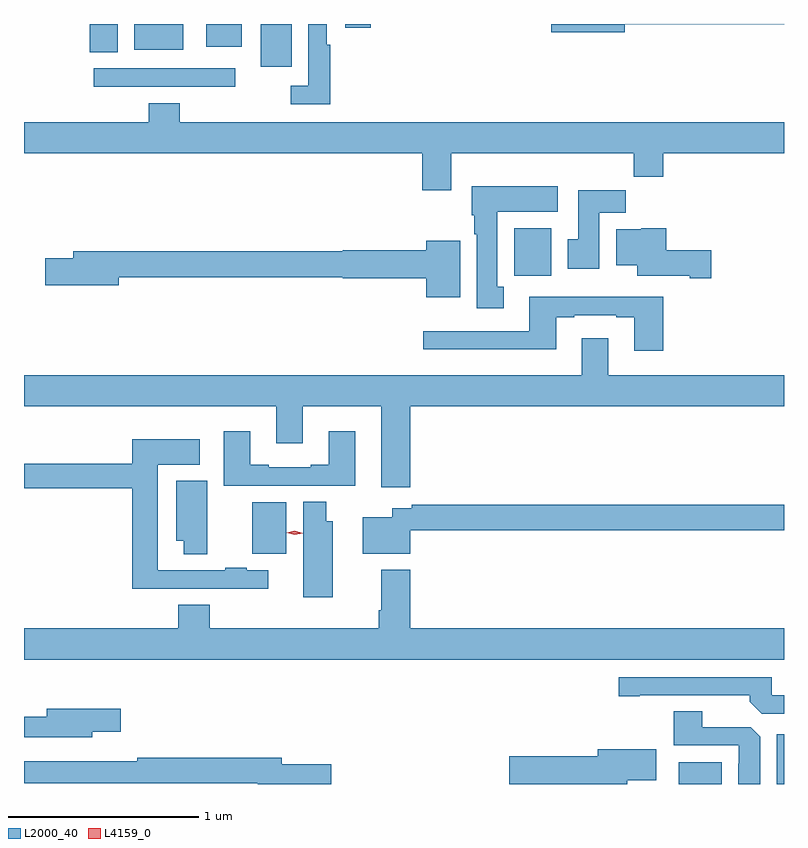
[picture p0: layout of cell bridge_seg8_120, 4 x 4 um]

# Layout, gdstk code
import gdstk
lib = gdstk.Library(unit=1e-6, precision=1e-09)
def R(c, l, rs):  # rectangles x0, y0, x1, y1
    for r in rs: c.add(gdstk.rectangle(r[:2], r[2:], *l))
def P(c, l, *ps):  # polygons
    for p in ps: c.add(gdstk.Polygon(p, *l))
L2000_40 = (2000, 40)
L4159_0 = (4159, 0)

bridge_seg8_120 = lib.new_cell('bridge_seg8_120')
R(bridge_seg8_120, L2000_40, [(845.549,1143.817,845.776,1143.931), (846.065,1143.817,846.103,1144.078), (843.305,1145.03,843.484,1145.299), (844.683,1146.492,844.879,1146.742), (842.469,1147.488,843.214,1147.584), (843.35,1147.593,843.511,1147.817), (842.684,1147.682,842.941,1147.817), (843.062,1147.697,843.25,1147.817), (843.794,1147.797,843.929,1147.817)])
P(bridge_seg8_120, L2000_40, [(845.266,1147.816),(846.103,1147.816),(846.103,1147.817),(844.878,1147.817),(844.878,1147.774),(845.266,1147.774)],
  [(843.716,1147.709),(843.696,1147.709),(843.696,1147.817),(843.6,1147.817),(843.6,1147.491),(843.507,1147.491),(843.507,1147.395),(843.716,1147.395)],
  [(842.596,1147.817),(842.103,1147.817),(842.103,1147.816),(842.45,1147.816),(842.45,1147.669),(842.596,1147.669)],
  [(844.351,1147.136),(845.311,1147.136),(845.311,1147.012),(845.468,1147.012),(845.468,1147.136),(846.103,1147.136),(846.103,1147.3),(842.924,1147.3),(842.924,1147.399),(842.759,1147.399),(842.759,1147.3),(842.103,1147.3),(842.103,1147.136),(844.199,1147.136),(844.199,1146.942),(844.351,1146.942)],
  [(844.627,1146.433),(844.594,1146.433),(844.594,1146.83),(844.912,1146.83),(844.912,1146.964),(844.46,1146.964),(844.46,1146.81),(844.472,1146.81),(844.472,1146.71),(844.487,1146.71),(844.487,1146.321),(844.627,1146.321)],
  [(845.131,1146.824),(845.27,1146.824),(845.27,1146.943),(845.021,1146.943),(845.021,1146.684),(844.964,1146.684),(844.964,1146.528),(845.131,1146.528)],
  [(845.719,1146.626),(845.483,1146.626),(845.483,1146.742),(845.352,1146.742),(845.352,1146.736),(845.219,1146.736),(845.219,1146.548),(845.33,1146.548),(845.33,1146.491),(845.606,1146.491),(845.606,1146.479),(845.719,1146.479)],
  [(844.399,1146.676),(844.22,1146.676),(844.22,1146.626),(843.78,1146.626),(843.78,1146.62),(842.363,1146.62),(842.363,1146.584),(842.214,1146.584),(842.214,1146.442),(842.602,1146.442),(842.602,1146.484),(843.78,1146.484),(843.78,1146.479),(844.22,1146.479),(844.22,1146.38),(844.399,1146.38)],
  [(845.468,1146.382),(844.763,1146.382),(844.763,1146.201),(844.203,1146.201),(844.203,1146.104),(844.903,1146.104),(844.903,1146.273),(844.999,1146.273),(844.999,1146.285),(845.219,1146.285),(845.219,1146.273),(845.315,1146.273),(845.315,1146.096),(845.468,1146.096)],
  [(844.136,1145.804),(846.103,1145.804),(846.103,1145.968),(845.179,1145.968),(845.179,1146.163),(845.039,1146.163),(845.039,1145.968),(842.103,1145.968),(842.103,1145.804),(843.431,1145.804),(843.431,1145.61),(843.571,1145.61),(843.571,1145.804),(843.983,1145.804),(843.983,1145.379),(844.136,1145.379)],
  [(843.847,1145.674),(843.707,1145.674),(843.707,1145.497),(843.611,1145.497),(843.611,1145.484),(843.391,1145.484),(843.391,1145.497),(843.295,1145.497),(843.295,1145.674),(843.155,1145.674),(843.155,1145.388),(843.847,1145.388)],
  [(843.388,1144.941),(843.275,1144.941),(843.275,1144.954),(843.163,1144.954),(843.163,1144.941),(842.806,1144.941),(842.806,1145.498),(843.028,1145.498),(843.028,1145.632),(842.672,1145.632),(842.672,1145.503),(842.103,1145.503),(842.103,1145.374),(842.672,1145.374),(842.672,1144.845),(843.163,1144.845),(843.163,1144.844),(843.388,1144.844)],
  [(843.067,1145.413),(842.903,1145.413),(842.903,1145.096),(842.945,1145.096),(842.945,1145.026),(843.067,1145.026)],
  [(843.727,1145.2),(843.694,1145.2),(843.694,1145.303),(843.572,1145.303),(843.572,1144.8),(843.727,1144.8)],
  [(844.137,1145.152),(846.103,1145.152),(846.103,1145.288),(844.144,1145.288),(844.144,1145.268),(844.041,1145.268),(844.041,1145.221),(843.887,1145.221),(843.887,1145.03),(844.137,1145.03)],
  [(846.103,1144.636),(844.136,1144.636),(844.136,1144.945),(843.983,1144.945),(843.983,1144.732),(843.971,1144.732),(843.971,1144.636),(843.08,1144.636),(843.08,1144.76),(842.915,1144.76),(842.915,1144.636),(842.103,1144.636),(842.103,1144.472),(846.103,1144.472)],
  [(846.103,1144.284),(846.039,1144.284),(846.039,1144.38),(845.232,1144.38),(845.232,1144.279),(845.344,1144.279),(845.344,1144.284),(845.924,1144.284),(845.924,1144.25),(845.985,1144.188),(846.103,1144.188)],
  [(842.461,1144.091),(842.611,1144.091),(842.611,1144.213),(842.222,1144.213),(842.222,1144.171),(842.103,1144.171),(842.103,1144.062),(842.461,1144.062)],
  [(845.977,1144.067),(845.928,1144.116),(845.674,1144.116),(845.674,1144.199),(845.522,1144.199),(845.522,1144.02),(845.865,1144.02),(845.865,1143.923),(845.861,1143.923),(845.861,1143.817),(845.977,1143.817)],
  [(845.278,1143.838),(845.431,1143.838),(845.431,1144),(845.123,1144),(845.123,1143.962),(844.656,1143.962),(844.656,1143.817),(845.278,1143.817)],
  [(843.721,1143.92),(843.46,1143.92),(843.46,1143.956),(842.698,1143.956),(842.698,1143.936),(842.103,1143.936),(842.103,1143.82),(843.332,1143.82),(843.332,1143.817),(843.721,1143.817)])
P(bridge_seg8_120, L4159_0, [(843.527,1145.129),(843.487,1145.14),(843.487,1145.14),(843.487,1145.14),(843.528,1145.149),(843.569,1145.138),(843.569,1145.138),(843.569,1145.138)])

lib.write_gds('bridge_seg8_120.gds')
